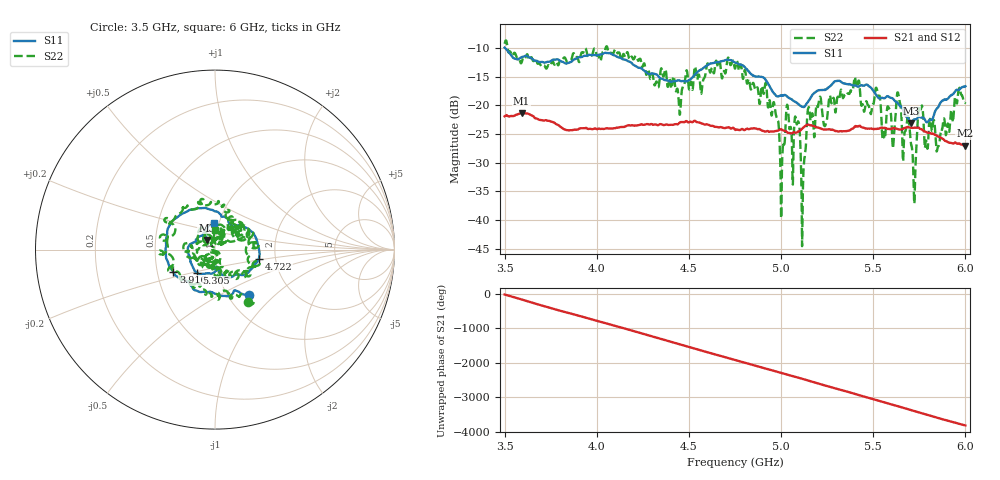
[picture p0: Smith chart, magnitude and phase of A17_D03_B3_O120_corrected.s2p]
! Created with skrf 1.9.0 (http://scikit-rf.org).
# Hz S RI R 50.0
!freq ReS11 ImS11 ReS21 ImS21 ReS12 ImS12 ReS22 ImS22
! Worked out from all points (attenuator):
!   1601 points, 3.5 GHz to 6 GHz, reference 50 ohm
!   highest |S21| = -21.35 dB at 3.592 GHz (marker M1); lowest = -27.0 dB at 5.997 GHz (marker M2)
!   lowest |S11| = -23.0 dB at 5.706 GHz (marker M3), VSWR 1.15, Z = 45.4 + j4.88 ohm
!   |S11| at or under -10 dB: 3.503 GHz to end of sweep
!   |S22| runs from -44.5 to -8.7 dB; largest |S21 - S12| = 0.00094
!   S11 on the Smith chart (normalised r, x): 3.5 GHz: 1.25, -0.71; 3.916 GHz: 0.61, -0.16; 4.722 GHz: 1.63, -0.18; 5.305 GHz: 0.79, -0.21; 6 GHz: 0.95, +0.28
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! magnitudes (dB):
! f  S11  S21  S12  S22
! 3.5 GHz  -9.9  -21.9  -21.9  -9.2
! 3.592 GHz  -11.6  -21.4  -21.4  -12.5
! 3.916 GHz  -11.6  -24.0  -24.0  -11.0
! 3.917 GHz  -11.6  -24.0  -24.0  -10.8
! 4.334 GHz  -14.9  -23.4  -23.4  -16.8
! 4.722 GHz  -12.1  -23.9  -23.9  -12.6
! 4.75 GHz  -12.5  -24.3  -24.2  -13.6
! 4.967 GHz  -18.1  -24.5  -24.5  -20.6
! 5.005 GHz  -18.2  -24.2  -24.2  -31.3
! 5.033 GHz  -18.4  -24.7  -24.6  -19.9
! 5.088 GHz  -19.6  -24.7  -24.6  -23.2
! 5.119 GHz  -20.3  -23.9  -23.8  -34.2
! 5.145 GHz  -19.4  -23.4  -23.3  -20.8
! 5.167 GHz  -18.3  -23.5  -23.5  -21.5
! 5.305 GHz  -15.7  -24.5  -24.4  -18.7
! 5.584 GHz  -18.5  -24.1  -24.1  -20.4
! 5.706 GHz  -23.0  -23.9  -23.9  -27.0
! 5.725 GHz  -22.4  -23.9  -23.8  -35.3
! 5.756 GHz  -22.1  -24.1  -24.0  -20.7
! 5.852 GHz  -20.3  -25.4  -25.3  -27.2
! 5.997 GHz  -16.7  -27.0  -27.0  -19.6
! 6 GHz  -16.7  -27.0  -27.0  -19.4
